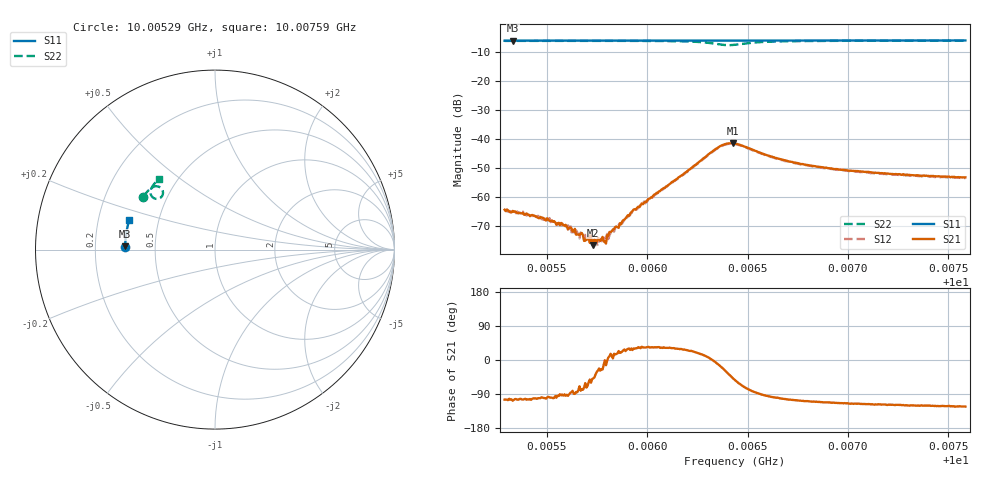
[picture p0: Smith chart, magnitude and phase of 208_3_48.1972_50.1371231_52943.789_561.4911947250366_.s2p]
#  HZ  S  RI  R  50.00
! Rohde & Schwarz Vector Network Analyzer
! Rohde-Schwarz,ZNB20-2Port,1311601062101988,3.16
! Created: UTC 3/20/2024, 11:45:20 AM
! freq[Hz]  re:S11  im:S11  re:S21  im:S21  re:S12  im:S12  re:S22  im:S22
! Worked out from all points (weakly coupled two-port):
!   401 points, 10.00529 GHz to 10.00759 GHz, reference 50 ohm
!   highest |S21| = -41.45 dB at 10.00643 GHz (marker M1); lowest = -76.6 dB at 10.00573 GHz (marker M2)
!   lowest |S11| = -6.0 dB at 10.00533 GHz (marker M3), VSWR 3.00, Z = 16.7 + j0.843 ohm
!   |S11| at or under -10 dB: nowhere
!   |S22| runs from -7.6 to -6.0 dB; largest |S21 - S12| = 0.00051
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1.0005289e10  -0.5001 0.0163  -0.00015 -0.000583  -0.000122 -0.000554  -0.3984 0.2951
1.0005329e10  -0.5 0.019  -0.000171 -0.000548  -0.000107 -0.000509  -0.3969 0.2975
1.0005375e10  -0.5001 0.0218  -0.000127 -0.000504  -9.98e-05 -0.000559  -0.3949 0.3001
1.0005536e10  -0.4998 0.0324  -6.77e-05 -0.000375  -3.3e-05 -0.000371  -0.388 0.3097
1.0005605e10  -0.4996 0.0368  -2.16e-05 -0.000273  1.09e-05 -0.000323  -0.3849 0.314
1.0005674e10  -0.4995 0.0414  5.38e-05 -0.000231  3.23e-05 -0.000218  -0.3814 0.3181
1.0005691e10  -0.4994 0.0424  8.47e-05 -0.000153  9.38e-05 -0.000201  -0.3804 0.3192
1.0005731e10  -0.4992 0.0451  9.84e-05 -0.000111  0.000125 -0.000112  -0.3785 0.3218
1.0005754e10  -0.4992 0.0465  0.000174 -9.22e-05  0.000132 -4.85e-05  -0.3772 0.3233
1.0005794e10  -0.499 0.0491  0.000152 -3.71e-05  0.000198 -1.48e-05  -0.3748 0.3257
1.0005823e10  -0.4987 0.051  0.00025 4.96e-05  0.000268 6.57e-05  -0.3732 0.3276
1.0005863e10  -0.4987 0.0536  0.000332 0.000113  0.000324 0.000118  -0.3706 0.3303
1.0005926e10  -0.4983 0.0576  0.000509 0.000253  0.000468 0.000267  -0.3663 0.3344
1.0006058e10  -0.4975 0.0663  0.00103 0.000701  0.000993 0.000729  -0.3547 0.3436
1.0006345e10  -0.4946 0.0846  0.00679 -0.000987  0.00674 -0.000596  -0.2917 0.3288
1.0006386e10  -0.4941 0.0871  0.00726 -0.00366  0.00727 -0.00322  -0.2921 0.304
1.0006426e10  -0.4939 0.0891  0.0057 -0.00626  0.00589 -0.00579  -0.3107 0.2852
1.0006437e10  -0.4939 0.09  0.00501 -0.00667  0.00523 -0.00628  -0.3176 0.2829
1.0006638e10  -0.4923 0.1028  -0.000741 -0.00464  -0.0005 -0.00462  -0.3596 0.3244
1.0006822e10  -0.4902 0.1146  -0.00117 -0.00323  -0.000998 -0.00322  -0.3516 0.3474
1.0007206e10  -0.4847 0.1387  -0.00118 -0.00221  -0.00107 -0.00222  -0.3317 0.3743
1.0007585e10  -0.4782 0.1623  -0.00118 -0.00182  -0.00106 -0.00184  -0.3121 0.3936
